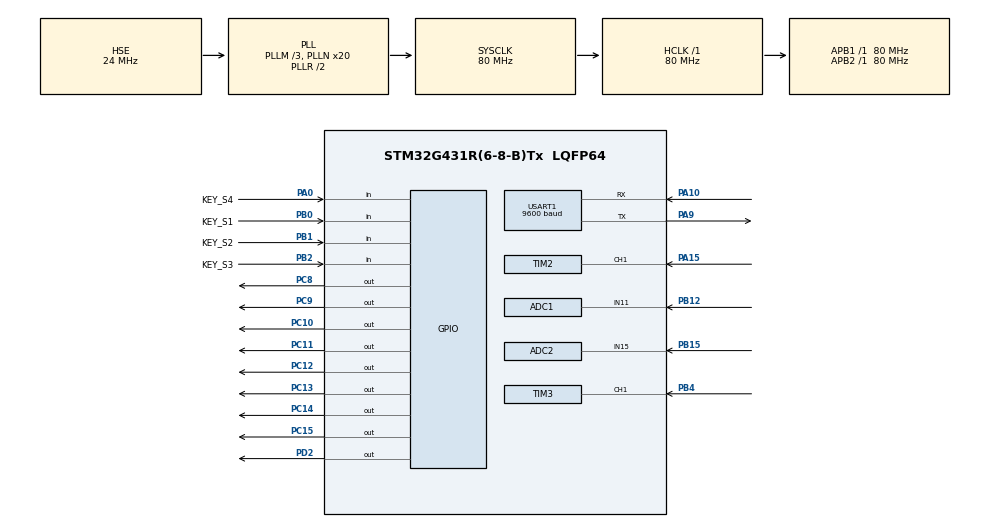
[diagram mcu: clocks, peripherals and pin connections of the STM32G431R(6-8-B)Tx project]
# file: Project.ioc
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ADC1.Channel-0\#ChannelRegularConversion=ADC_CHANNEL_11
ADC1.ContinuousConvMode=ENABLE
ADC1.NbrOfConversionFlag=1
ADC1.OffsetNumber-0\#ChannelRegularConversion=ADC_OFFSET_NONE
ADC1.Overrun=ADC_OVR_DATA_OVERWRITTEN
ADC1.Rank-0\#ChannelRegularConversion=1
ADC1.SamplingTime-0\#ChannelRegularConversion=ADC_SAMPLETIME_2CYCLES_5
ADC1.master=1
ADC2.Channel-0\#ChannelRegularConversion=ADC_CHANNEL_15
ADC2.ContinuousConvMode=ENABLE
ADC2.NbrOfConversionFlag=1
ADC2.OffsetNumber-0\#ChannelRegularConversion=ADC_OFFSET_NONE
ADC2.Overrun=ADC_OVR_DATA_OVERWRITTEN
ADC2.Rank-0\#ChannelRegularConversion=1
ADC2.SamplingTime-0\#ChannelRegularConversion=ADC_SAMPLETIME_2CYCLES_5
Dma.Request0=USART1_TX
Dma.Request1=USART1_RX
Dma.USART1_RX.1.Direction=DMA_PERIPH_TO_MEMORY
Dma.USART1_RX.1.EventEnable=DISABLE
Dma.USART1_RX.1.Instance=DMA1_Channel2
Dma.USART1_RX.1.MemDataAlignment=DMA_MDATAALIGN_BYTE
Dma.USART1_RX.1.MemInc=DMA_MINC_ENABLE
Dma.USART1_RX.1.Mode=DMA_NORMAL
Dma.USART1_RX.1.PeriphDataAlignment=DMA_PDATAALIGN_BYTE
Dma.USART1_RX.1.PeriphInc=DMA_PINC_DISABLE
Dma.USART1_RX.1.Polarity=HAL_DMAMUX_REQ_GEN_RISING
Dma.USART1_RX.1.Priority=DMA_PRIORITY_LOW
Dma.USART1_RX.1.RequestNumber=1
Dma.USART1_RX.1.SignalID=NONE
Dma.USART1_RX.1.SyncEnable=DISABLE
Dma.USART1_RX.1.SyncPolarity=HAL_DMAMUX_SYNC_NO_EVENT
Dma.USART1_RX.1.SyncRequestNumber=1
Dma.USART1_RX.1.SyncSignalID=NONE
Dma.USART1_TX.0.Direction=DMA_MEMORY_TO_PERIPH
Dma.USART1_TX.0.EventEnable=DISABLE
Dma.USART1_TX.0.Instance=DMA1_Channel1
Dma.USART1_TX.0.MemDataAlignment=DMA_MDATAALIGN_BYTE
Dma.USART1_TX.0.MemInc=DMA_MINC_ENABLE
Dma.USART1_TX.0.Mode=DMA_NORMAL
Dma.USART1_TX.0.PeriphDataAlignment=DMA_PDATAALIGN_BYTE
Dma.USART1_TX.0.PeriphInc=DMA_PINC_DISABLE
Dma.USART1_TX.0.Polarity=HAL_DMAMUX_REQ_GEN_RISING
Dma.USART1_TX.0.Priority=DMA_PRIORITY_LOW
Dma.USART1_TX.0.RequestNumber=1
Dma.USART1_TX.0.SignalID=NONE
Dma.USART1_TX.0.SyncEnable=DISABLE
Dma.USART1_TX.0.SyncPolarity=HAL_DMAMUX_SYNC_NO_EVENT
Dma.USART1_TX.0.SyncRequestNumber=1
Dma.USART1_TX.0.SyncSignalID=NONE
Mcu.Family=STM32G4
Mcu.Name=STM32G431R(6-8-B)Tx
Mcu.Package=LQFP64
NVIC.DMA1_Channel1_IRQn=true\:0\:0\:false\:false\:true\:false\:true\:true
NVIC.DMA1_Channel2_IRQn=true\:0\:0\:false\:false\:true\:false\:true\:true
NVIC.PriorityGroup=NVIC_PRIORITYGROUP_4
NVIC.TIM1_TRG_COM_TIM17_IRQn=true\:1\:0\:true\:false\:true\:true\:true\:true
NVIC.USART1_IRQn=true\:0\:0\:false\:false\:true\:true\:true\:true
PA0.GPIO_Label=KEY_S4
PA0.Signal=GPIO_Input
PA10.Mode=Asynchronous
PA10.Signal=USART1_RX
PA13.Mode=Serial_Wire
PA13.Signal=SYS_JTMS-SWDIO
PA14.Mode=Serial_Wire
PA14.Signal=SYS_JTCK-SWCLK
PA15.Signal=S_TIM2_CH1
PA9.Mode=Asynchronous
PA9.Signal=USART1_TX
PB0.GPIO_Label=KEY_S1
PB0.Signal=GPIO_Input
PB1.GPIO_Label=KEY_S2
PB1.Signal=GPIO_Input
PB12.Mode=IN11-Single-Ended
PB12.Signal=ADC1_IN11
PB15.Mode=IN15-Single-Ended
PB15.Signal=ADC2_IN15
PB2.GPIO_Label=KEY_S3
PB2.Signal=GPIO_Input
PB4.Signal=S_TIM3_CH1
PC10.Signal=GPIO_Output
PC11.Signal=GPIO_Output
PC12.Signal=GPIO_Output
PC13.Signal=GPIO_Output
PC14-OSC32_IN.Signal=GPIO_Output
PC15-OSC32_OUT.Signal=GPIO_Output
PC8.Signal=GPIO_Output
PC9.Signal=GPIO_Output
PD2.Signal=GPIO_Output
PF0-OSC_IN.Mode=HSE-External-Oscillator
PF0-OSC_IN.Signal=RCC_OSC_IN
PF1-OSC_OUT.Mode=HSE-External-Oscillator
PF1-OSC_OUT.Signal=RCC_OSC_OUT
ProjectManager.HeapSize=0x0
ProjectManager.StackSize=0x1000
ProjectManager.TargetToolchain=MDK-ARM V5.32
RCC.ADC12Freq_Value=80000000
RCC.AHBFreq_Value=80000000
RCC.APB1Freq_Value=80000000
RCC.APB1TimFreq_Value=80000000
RCC.APB2Freq_Value=80000000
RCC.APB2TimFreq_Value=80000000
RCC.CortexFreq_Value=80000000
RCC.EXTERNAL_CLOCK_VALUE=12288000
RCC.HCLKFreq_Value=80000000
RCC.HSE_VALUE=24000000
RCC.HSI48_VALUE=48000000
RCC.HSI_VALUE=16000000
RCC.LSE_VALUE=32768
RCC.PLLM=RCC_PLLM_DIV3
RCC.PLLN=20
RCC.PLLSourceVirtual=RCC_PLLSOURCE_HSE
RCC.SYSCLKFreq_VALUE=80000000
RCC.SYSCLKSource=RCC_SYSCLKSOURCE_PLLCLK
RCC.USBFreq_Value=80000000
RCC.VCOOutputFreq_Value=160000000
SH.S_TIM2_CH1.0=TIM2_CH1,PWM_Input_1
SH.S_TIM3_CH1.0=TIM3_CH1,PWM_Input_1
TIM17.PeriodNoDither=9999
TIM17.Prescaler=79
TIM2.Prescaler=79
TIM3.Prescaler=79
USART1.BaudRate=9600
USART1.VirtualMode-Asynchronous=VM_ASYNC
VP_SYS_VS_DBSignals.Mode=DisableDeadBatterySignals
VP_TIM17_VS_ClockSourceINT.Mode=Enable_Timer
board=custom

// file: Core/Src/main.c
/* USER CODE BEGIN Header */
/**
  ******************************************************************************
  * @file           : main.c
  * @brief          : Main program body
  ******************************************************************************
  * @attention
  *
  * Copyright (c) 2025 STMicroelectronics.
  * All rights reserved.
  *
  * This software is licensed under terms that can be found in the LICENSE file
  * in the root directory of this software component.
  * If no LICENSE file comes with this software, it is provided AS-IS.
  *
  ******************************************************************************
  */
/* USER CODE END Header */
#include "main.h"
#include "adc.h"
#include "dma.h"
#include "tim.h"
#include "usart.h"
#include "gpio.h"

/* USER CODE BEGIN Includes */
#include "lcd.h"

/* USER CODE END Includes */

/* USER CODE BEGIN PV */
myUART_HandleTypeDef myUART = { .huart = &huart1 };

/* USER CODE END PV */

void SystemClock_Config(void);
/* USER CODE BEGIN PFP */
float LinearMap(float x, float xmin, float xmax, float ymin, float ymax);
void LCD_ShowString(uint8_t Line, const char *format, ...);
void Key_Process(uint8_t keyNum);

/* USER CODE END PFP */

/* USER CODE BEGIN 0 */
void HAL_UARTEx_RxEventCallback(UART_HandleTypeDef *huart, uint16_t Size)
{
	if (huart == myUART.huart && huart->RxEventType != HAL_UART_RXEVENT_HT)
	{
		myUART_Transmit_DMA(&myUART, "RxMsg: %s", myUART.RxMsg);
		myUART_Start_Receive_DMA(&myUART);
	}
}

void HAL_TIM_PeriodElapsedCallback(TIM_HandleTypeDef *htim)
{
	if (htim == &htim17)
	{
		Key_Process(Key_Read());
	}
}

/* USER CODE END 0 */

int main(void)
{

  /* MCU Configuration--------------------------------------------------------*/

  /* Reset of all peripherals, Initializes the Flash interface and the Systick. */
  HAL_Init();

  /* Configure the system clock */
  SystemClock_Config();

  /* Initialize all configured peripherals */
  MX_GPIO_Init();
  MX_DMA_Init();
  MX_USART1_UART_Init();
  MX_TIM17_Init();
  MX_TIM3_Init();
  MX_TIM2_Init();
  MX_ADC1_Init();
  MX_ADC2_Init();
  /* USER CODE BEGIN 2 */
  LED_WR(0x00);
  LCD_Init();
  LCD_Clear(Black);
  LCD_SetBackColor(Black);
  LCD_SetTextColor(White);
  LCD_ShowString(Line3, "        DATA        ");
  myUART_Transmit_DMA(&myUART, "G431RBT6 UART1 Connected.\r\n");
  myUART_Transmit_DMA(&myUART, "Continuous sending test.\r\n");
  myUART_Start_Receive_DMA(&myUART);

  HAL_ADC_Start(&hadc1);
  HAL_ADC_Start(&hadc2);
  HAL_TIM_IC_Start(&htim2, TIM_CHANNEL_1);
  HAL_TIM_IC_Start(&htim3, TIM_CHANNEL_1);
  HAL_TIM_Base_Start_IT(&htim17);

  /* USER CODE END 2 */

  /* Infinite loop */
  /* USER CODE BEGIN WHILE */
  while (1)
  {
	LCD_ShowString(Line4, "    PR39:%5dHz", 1000000 / (TIM3->CCR1 + 1));
	LCD_ShowString(Line5, "    PR40:%5dHz", 1000000 / (TIM2->CCR1 + 1));

    /* USER CODE END WHILE */

  }
}

void SystemClock_Config(void)
{
  RCC_OscInitTypeDef RCC_OscInitStruct = {0};
  RCC_ClkInitTypeDef RCC_ClkInitStruct = {0};

  /** Configure the main internal regulator output voltage
  */
  HAL_PWREx_ControlVoltageScaling(PWR_REGULATOR_VOLTAGE_SCALE1);

  /** Initializes the RCC Oscillators according to the specified parameters
  * in the RCC_OscInitTypeDef structure.
  */
  RCC_OscInitStruct.OscillatorType = RCC_OSCILLATORTYPE_HSE;
  RCC_OscInitStruct.HSEState = RCC_HSE_ON;
  RCC_OscInitStruct.PLL.PLLState = RCC_PLL_ON;
  RCC_OscInitStruct.PLL.PLLSource = RCC_PLLSOURCE_HSE;
  RCC_OscInitStruct.PLL.PLLM = RCC_PLLM_DIV3;
  RCC_OscInitStruct.PLL.PLLN = 20;
  RCC_OscInitStruct.PLL.PLLP = RCC_PLLP_DIV2;
  RCC_OscInitStruct.PLL.PLLQ = RCC_PLLQ_DIV2;
  RCC_OscInitStruct.PLL.PLLR = RCC_PLLR_DIV2;
  if (HAL_RCC_OscConfig(&RCC_OscInitStruct) != HAL_OK)
  {
    Error_Handler();
  }

  /** Initializes the CPU, AHB and APB buses clocks
  */
  RCC_ClkInitStruct.ClockType = RCC_CLOCKTYPE_HCLK|RCC_CLOCKTYPE_SYSCLK
                              |RCC_CLOCKTYPE_PCLK1|RCC_CLOCKTYPE_PCLK2;
  RCC_ClkInitStruct.SYSCLKSource = RCC_SYSCLKSOURCE_PLLCLK;
  RCC_ClkInitStruct.AHBCLKDivider = RCC_SYSCLK_DIV1;
  RCC_ClkInitStruct.APB1CLKDivider = RCC_HCLK_DIV1;
  RCC_ClkInitStruct.APB2CLKDivider = RCC_HCLK_DIV1;

  if (HAL_RCC_ClockConfig(&RCC_ClkInitStruct, FLASH_LATENCY_2) != HAL_OK)
  {
    Error_Handler();
  }
}

/* USER CODE BEGIN 4 */
void LCD_ShowString(uint8_t Line, const char *format, ...)
{
	char str[21];
	va_list ap;
	va_start(ap, format);
	int xnum = vsnprintf(str, 21, format, ap);
	va_end(ap);
	while (xnum < 20) str[xnum++] = 32;
	LCD_DisplayStringLine(Line, (uint8_t *)str);
}

void Key_Process(uint8_t keyNum)
{

}

float LinearMap(float x, float xmin, float xmax, float ymin, float ymax)
{
	if (x <= xmin) return ymin;
	if (x >= xmax) return ymax;
	return ymin + (x - xmin) * (ymax - ymin) / (xmax - xmin);
}

/* USER CODE END 4 */

void Error_Handler(void)
{
  __disable_irq();
  while (1)
  {
  }
}
